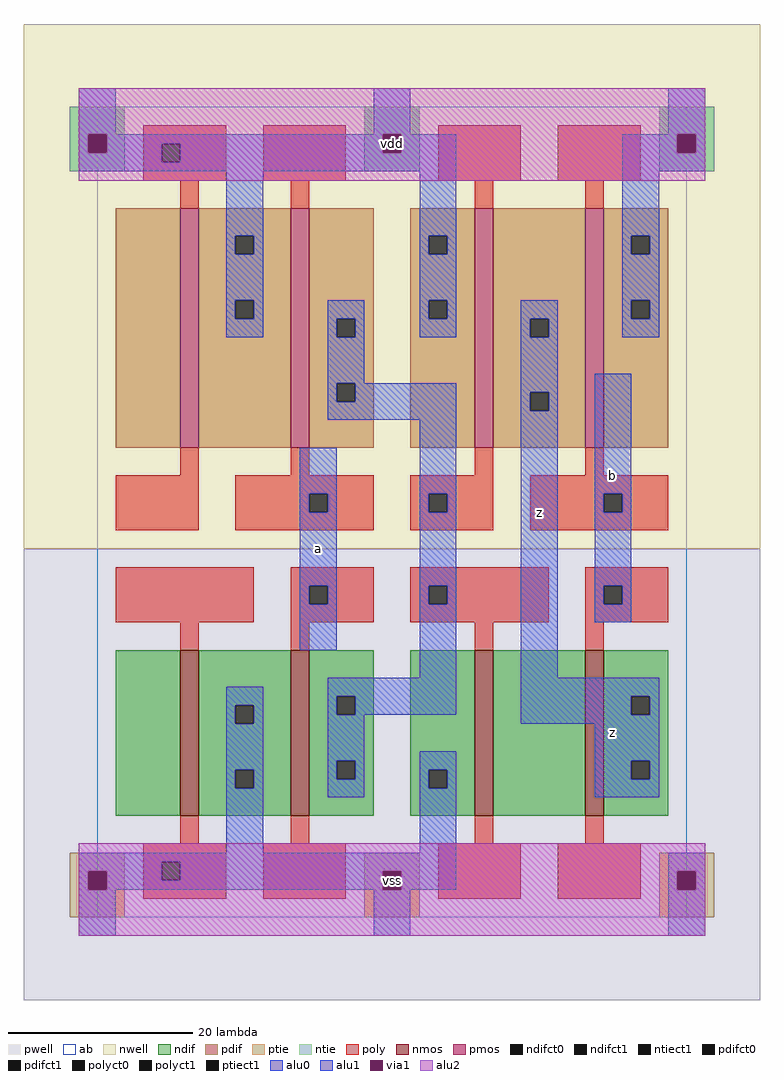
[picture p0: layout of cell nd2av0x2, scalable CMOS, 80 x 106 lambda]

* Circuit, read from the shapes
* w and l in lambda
.subckt nd2av0x2 a b vdd vss z
M1 vss vss n1 vss nfet w=18 l=2
M2 n2 a vss vss nfet w=18 l=2
M3 n3 n2 vss vss nfet w=18 l=2
M4 z b n3 vss nfet w=18 l=2
M5 vdd vdd n4 vdd pfet w=26 l=2
M6 n2 a vdd vdd pfet w=26 l=2
M7 z n2 vdd vdd pfet w=26 l=2
M8 vdd b z vdd pfet w=26 l=2
.ends

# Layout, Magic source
magic
tech scmos
<< ab >>
rect 0 0 64 88
<< nwell >>
rect -8 40 72 97
<< pwell >>
rect -8 -9 72 40
<< poly >>
rect 5 84 14 86
rect 5 82 7 84
rect 9 82 14 84
rect 5 80 14 82
rect 18 80 27 86
rect 37 80 46 86
rect 50 80 59 86
rect 9 77 11 80
rect 21 77 23 80
rect 41 77 43 80
rect 53 77 55 80
rect 9 48 11 51
rect 21 48 23 51
rect 41 48 43 51
rect 53 48 55 51
rect 2 42 11 48
rect 15 46 30 48
rect 15 44 23 46
rect 25 44 30 46
rect 15 42 30 44
rect 34 46 43 48
rect 34 44 36 46
rect 38 44 43 46
rect 34 42 43 44
rect 47 46 62 48
rect 47 44 55 46
rect 57 44 62 46
rect 47 42 62 44
rect 2 32 17 38
rect 21 36 30 38
rect 21 34 23 36
rect 25 34 30 36
rect 21 32 30 34
rect 34 36 49 38
rect 34 34 36 36
rect 38 34 49 36
rect 34 32 49 34
rect 53 36 62 38
rect 53 34 55 36
rect 57 34 62 36
rect 53 32 62 34
rect 9 29 11 32
rect 21 29 23 32
rect 41 29 43 32
rect 53 29 55 32
rect 9 8 11 11
rect 21 8 23 11
rect 41 8 43 11
rect 53 8 55 11
rect 5 6 14 8
rect 5 4 7 6
rect 9 4 14 6
rect 5 2 14 4
rect 18 2 27 8
rect 37 2 46 8
rect 50 2 59 8
<< ndif >>
rect 2 11 9 29
rect 11 23 21 29
rect 11 21 15 23
rect 17 21 21 23
rect 11 16 21 21
rect 11 14 15 16
rect 17 14 21 16
rect 11 11 21 14
rect 23 24 30 29
rect 23 22 26 24
rect 28 22 30 24
rect 23 17 30 22
rect 23 15 26 17
rect 28 15 30 17
rect 23 11 30 15
rect 34 16 41 29
rect 34 14 36 16
rect 38 14 41 16
rect 34 11 41 14
rect 43 11 53 29
rect 55 24 62 29
rect 55 22 58 24
rect 60 22 62 24
rect 55 17 62 22
rect 55 15 58 17
rect 60 15 62 17
rect 55 11 62 15
<< pdif >>
rect 2 51 9 77
rect 11 74 21 77
rect 11 72 15 74
rect 17 72 21 74
rect 11 67 21 72
rect 11 65 15 67
rect 17 65 21 67
rect 11 51 21 65
rect 23 65 30 77
rect 23 63 26 65
rect 28 63 30 65
rect 23 58 30 63
rect 23 56 26 58
rect 28 56 30 58
rect 23 51 30 56
rect 34 74 41 77
rect 34 72 36 74
rect 38 72 41 74
rect 34 67 41 72
rect 34 65 36 67
rect 38 65 41 67
rect 34 51 41 65
rect 43 65 53 77
rect 43 63 47 65
rect 49 63 53 65
rect 43 57 53 63
rect 43 55 47 57
rect 49 55 53 57
rect 43 51 53 55
rect 55 74 62 77
rect 55 72 58 74
rect 60 72 62 74
rect 55 67 62 72
rect 55 65 58 67
rect 60 65 62 67
rect 55 51 62 65
<< alu1 >>
rect -2 85 2 90
rect 30 85 34 90
rect 62 85 66 90
rect -2 83 -1 85
rect 1 84 31 85
rect 1 83 7 84
rect -2 82 7 83
rect 9 83 31 84
rect 33 83 39 85
rect 9 82 39 83
rect -2 81 39 82
rect 14 74 18 81
rect 14 72 15 74
rect 17 72 18 74
rect 14 67 18 72
rect 35 74 39 81
rect 35 72 36 74
rect 38 72 39 74
rect 35 67 39 72
rect 57 83 63 85
rect 65 83 66 85
rect 57 81 66 83
rect 57 74 61 81
rect 57 72 58 74
rect 60 72 61 74
rect 57 67 61 72
rect 14 65 15 67
rect 17 65 18 67
rect 14 63 18 65
rect 35 65 36 67
rect 38 65 39 67
rect 35 63 39 65
rect 46 65 50 67
rect 46 63 47 65
rect 49 63 50 65
rect 57 65 58 67
rect 60 65 61 67
rect 57 63 61 65
rect 22 46 26 51
rect 22 44 23 46
rect 25 44 26 46
rect 22 36 26 44
rect 22 34 23 36
rect 25 34 26 36
rect 22 29 26 34
rect 14 23 18 25
rect 14 21 15 23
rect 17 21 18 23
rect 14 16 18 21
rect 14 14 15 16
rect 17 14 18 16
rect 14 7 18 14
rect 46 57 50 63
rect 46 55 47 57
rect 49 55 50 57
rect 46 26 50 55
rect 54 46 58 59
rect 54 44 55 46
rect 57 44 58 46
rect 54 36 58 44
rect 54 34 55 36
rect 57 34 58 36
rect 54 32 58 34
rect 46 24 61 26
rect 46 22 58 24
rect 60 22 61 24
rect 46 21 61 22
rect 35 16 39 18
rect 35 14 36 16
rect 38 14 39 16
rect 35 7 39 14
rect 54 17 61 21
rect 54 15 58 17
rect 60 15 61 17
rect 54 13 61 15
rect -2 6 39 7
rect -2 5 7 6
rect -2 3 -1 5
rect 1 4 7 5
rect 9 5 39 6
rect 9 4 31 5
rect 1 3 31 4
rect 33 3 39 5
rect 62 5 66 7
rect 62 3 63 5
rect 65 3 66 5
rect -2 -2 2 3
rect 30 -2 34 3
rect 62 -2 66 3
<< alu2 >>
rect -2 85 66 90
rect -2 83 -1 85
rect 1 83 31 85
rect 33 83 63 85
rect 65 83 66 85
rect -2 80 66 83
rect -2 5 66 8
rect -2 3 -1 5
rect 1 3 31 5
rect 33 3 63 5
rect 65 3 66 5
rect -2 -2 66 3
<< ptie >>
rect -3 5 3 7
rect -3 3 -1 5
rect 1 3 3 5
rect -3 0 3 3
rect 29 5 35 7
rect 29 3 31 5
rect 33 3 35 5
rect 29 0 35 3
rect 61 5 67 7
rect 61 3 63 5
rect 65 3 67 5
rect 61 0 67 3
<< ntie >>
rect -3 85 3 88
rect -3 83 -1 85
rect 1 83 3 85
rect -3 81 3 83
rect 29 85 35 88
rect 29 83 31 85
rect 33 83 35 85
rect 29 81 35 83
rect 61 85 67 88
rect 61 83 63 85
rect 65 83 67 85
rect 61 81 67 83
<< nmos >>
rect 9 11 11 29
rect 21 11 23 29
rect 41 11 43 29
rect 53 11 55 29
<< pmos >>
rect 9 51 11 77
rect 21 51 23 77
rect 41 51 43 77
rect 53 51 55 77
<< polyct0 >>
rect 36 44 38 46
rect 36 34 38 36
<< polyct1 >>
rect 7 82 9 84
rect 23 44 25 46
rect 55 44 57 46
rect 23 34 25 36
rect 55 34 57 36
rect 7 4 9 6
<< ndifct0 >>
rect 26 22 28 24
rect 26 15 28 17
<< ndifct1 >>
rect 15 21 17 23
rect 15 14 17 16
rect 36 14 38 16
rect 58 22 60 24
rect 58 15 60 17
<< ntiect1 >>
rect -1 83 1 85
rect 31 83 33 85
rect 63 83 65 85
<< ptiect1 >>
rect -1 3 1 5
rect 31 3 33 5
rect 63 3 65 5
<< pdifct0 >>
rect 26 63 28 65
rect 26 56 28 58
<< pdifct1 >>
rect 15 72 17 74
rect 15 65 17 67
rect 36 72 38 74
rect 36 65 38 67
rect 47 63 49 65
rect 47 55 49 57
rect 58 72 60 74
rect 58 65 60 67
<< alu0 >>
rect 25 65 29 67
rect 25 63 26 65
rect 28 63 29 65
rect 25 58 29 63
rect 25 56 26 58
rect 28 56 39 58
rect 25 54 39 56
rect 35 46 39 54
rect 35 44 36 46
rect 38 44 39 46
rect 35 36 39 44
rect 35 34 36 36
rect 38 34 39 36
rect 35 26 39 34
rect 25 24 39 26
rect 25 22 26 24
rect 28 22 39 24
rect 25 17 29 22
rect 25 15 26 17
rect 28 15 29 17
rect 25 13 29 15
<< via1 >>
rect -1 83 1 85
rect 31 83 33 85
rect 63 83 65 85
rect -1 3 1 5
rect 31 3 33 5
rect 63 3 65 5
<< labels >>
rlabel alu1 24 40 24 40 6 a
rlabel alu1 56 20 56 20 6 z
rlabel alu1 56 48 56 48 6 b
rlabel alu1 48 44 48 44 6 z
rlabel via1 32 4 32 4 6 vss
rlabel via1 32 84 32 84 6 vdd
<< end >>
